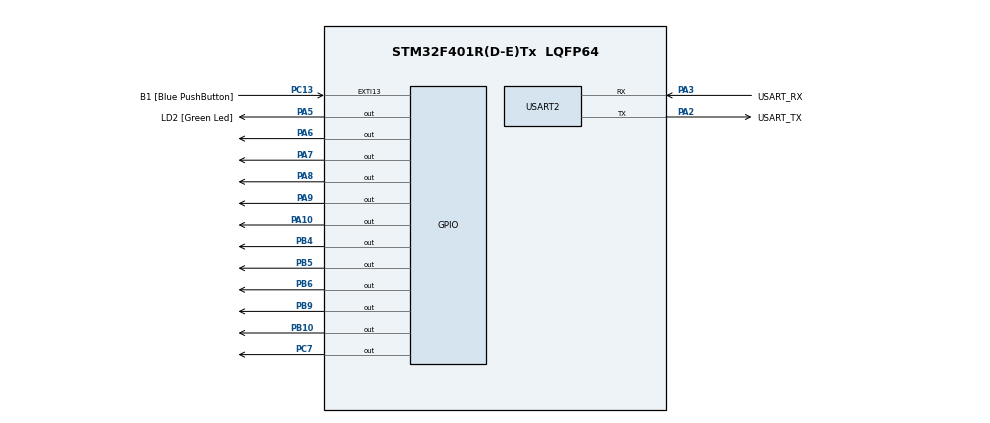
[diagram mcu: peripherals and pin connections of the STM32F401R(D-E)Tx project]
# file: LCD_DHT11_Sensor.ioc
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Mcu.Family=STM32F4
Mcu.Name=STM32F401R(D-E)Tx
Mcu.Package=LQFP64
NVIC.PriorityGroup=NVIC_PRIORITYGROUP_4
PA10.Signal=GPIO_Output
PA13.GPIO_Label=TMS
PA13.Mode=Trace_Asynchronous_SW
PA13.Signal=SYS_JTMS-SWDIO
PA14.GPIO_Label=TCK
PA14.Mode=Trace_Asynchronous_SW
PA14.Signal=SYS_JTCK-SWCLK
PA2.GPIO_Label=USART_TX
PA2.GPIO_Mode=GPIO_MODE_AF_PP
PA2.GPIO_PuPd=GPIO_NOPULL
PA2.GPIO_Speed=GPIO_SPEED_FREQ_LOW
PA2.Mode=Asynchronous
PA2.Signal=USART2_TX
PA3.GPIO_Label=USART_RX
PA3.GPIO_Mode=GPIO_MODE_AF_PP
PA3.GPIO_PuPd=GPIO_NOPULL
PA3.GPIO_Speed=GPIO_SPEED_FREQ_LOW
PA3.Mode=Asynchronous
PA3.Signal=USART2_RX
PA5.GPIO_Label=LD2 [Green Led]
PA5.GPIO_Mode=GPIO_MODE_OUTPUT_PP
PA5.GPIO_PuPd=GPIO_NOPULL
PA5.GPIO_Speed=GPIO_SPEED_FREQ_LOW
PA5.Signal=GPIO_Output
PA6.Signal=GPIO_Output
PA7.Signal=GPIO_Output
PA8.Signal=GPIO_Output
PA9.Signal=GPIO_Output
PB10.Signal=GPIO_Output
PB3.GPIO_Label=SWO
PB3.Mode=Trace_Asynchronous_SW
PB3.Signal=SYS_JTDO-SWO
PB4.Signal=GPIO_Output
PB5.Signal=GPIO_Output
PB6.Signal=GPIO_Output
PB9.Signal=GPIO_Output
PC13-ANTI_TAMP.GPIO_Label=B1 [Blue PushButton]
PC13-ANTI_TAMP.GPIO_ModeDefaultEXTI=GPIO_MODE_IT_FALLING
PC13-ANTI_TAMP.GPIO_PuPd=GPIO_NOPULL
PC13-ANTI_TAMP.Signal=GPXTI13
PC14-OSC32_IN.Mode=LSE-External-Oscillator
PC14-OSC32_IN.Signal=RCC_OSC32_IN
PC15-OSC32_OUT.Mode=LSE-External-Oscillator
PC15-OSC32_OUT.Signal=RCC_OSC32_OUT
PC7.Signal=GPIO_Output
PH0\ -\ OSC_IN.Mode=HSE-External-Clock-Source
PH0\ -\ OSC_IN.Signal=RCC_OSC_IN
PH1\ -\ OSC_OUT.Mode=HSE-External-Clock-Source
PH1\ -\ OSC_OUT.Signal=RCC_OSC_OUT
ProjectManager.HeapSize=0x200
ProjectManager.StackSize=0x400
ProjectManager.TargetToolchain=STM32CubeIDE
RCC.48MHZClocksFreq_Value=48000000
RCC.AHBFreq_Value=84000000
RCC.APB1CLKDivider=RCC_HCLK_DIV2
RCC.APB1Freq_Value=42000000
RCC.APB1TimFreq_Value=84000000
RCC.APB2Freq_Value=84000000
RCC.APB2TimFreq_Value=84000000
RCC.CortexFreq_Value=84000000
RCC.HCLKFreq_Value=84000000
RCC.HSE_VALUE=8000000
RCC.HSI_VALUE=16000000
RCC.PLLN=336
RCC.PLLP=RCC_PLLP_DIV4
RCC.PLLQ=7
RCC.SYSCLKFreq_VALUE=84000000
RCC.SYSCLKSource=RCC_SYSCLKSOURCE_PLLCLK
RCC.VCOOutputFreq_Value=336000000
TIM2.Prescaler=83
USART2.VirtualMode=VM_ASYNC
VP_TIM2_VS_ClockSourceINT.Mode=Internal
board=NUCLEO-F401RE

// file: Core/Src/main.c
/* USER CODE BEGIN Header */
/**
  ******************************************************************************
  * @file           : main.c
  * @brief          : Main program body
  ******************************************************************************
  * @attention
  *
  * Copyright (c) 2025 STMicroelectronics.
  * All rights reserved.
  *
  * This software is licensed under terms that can be found in the LICENSE file
  * in the root directory of this software component.
  * If no LICENSE file comes with this software, it is provided AS-IS.
  *
  ******************************************************************************
  */

// =============== Pinout ===============
// Register Select (RS)  - A10
// Enable          (E)   - B5
// D0              (LSB) - B4
// D1                    - B10
// D2                    - A8
// D3                    - A9
// D4                    - C7
// D5                    - B6
// D6                    - A7
// D7              (MSB) - A6
// DHT11           (D14) - B9

/* USER CODE END Header */
#include "main.h"

/* USER CODE BEGIN Includes */
#include "lcd.h"
#include "dht11.h"
#include <stdio.h>
#include <string.h>
/* USER CODE END Includes */

TIM_HandleTypeDef htim2;

void SystemClock_Config(void);
static void MX_GPIO_Init(void);
static void MX_USART2_UART_Init(void);
static void MX_TIM2_Init(void);

int main(void)
{

  /* USER CODE BEGIN 1 */
	DHT11_Data DHT_DAT;

	LCD my_LCD = {
	    .rs = {GPIOA, LL_GPIO_PIN_10},
	    .e  = {GPIOB, LL_GPIO_PIN_5},
	    .d7 = {GPIOA, LL_GPIO_PIN_6},
	    .d6 = {GPIOA, LL_GPIO_PIN_7},
	    .d5 = {GPIOB, LL_GPIO_PIN_6},
	    .d4 = {GPIOC, LL_GPIO_PIN_7},
	    .d3 = {GPIOA, LL_GPIO_PIN_9},
	    .d2 = {GPIOA, LL_GPIO_PIN_8},
	    .d1 = {GPIOB, LL_GPIO_PIN_10},
	    .d0 = {GPIOB, LL_GPIO_PIN_4}
	};

  /* USER CODE END 1 */

  /* MCU Configuration--------------------------------------------------------*/

  /* Reset of all peripherals, Initializes the Flash interface and the Systick. */
  HAL_Init();

  /* Configure the system clock */
  SystemClock_Config();

  /* Initialize all configured peripherals */
  MX_GPIO_Init();
  MX_USART2_UART_Init();
  MX_TIM2_Init();
  /* USER CODE BEGIN 2 */
  TIM2->CR1 |= TIM_CR1_CEN;

  LCD_INIT(&my_LCD); // initializes as 2 line, 8 bit, right incrementing
  LCD_PRINT(&my_LCD, "Really long string hello");
  LCD_CLEAR(&my_LCD);

  /* DHT11 Initialization Process
   * GPIO Initially Pulled High by DHT11
   * GPIO Set as output
   * 1. GPIO Pulls Low for at least 18ms (Start Signal)
   * 2. GPIO Pulls up
   * 3. GPIO Set as Input
   * 4. Wait for DHT response (20-40 us)
   * 5. DHT sends response signal LOW, keeps for 80 us
   * 6. DHT sets bus voltage level to high, keeps for 80 us, prep send data
   * 7. DHT sends 1 bit, starting with 50us low, then length of high voltage for 0 or 1
   * 	- 0 (26-28 us)
   * 	- 1 (70 us)
   * 8. next bit starts to transmit (50us)
   * 9. repeats until finished, then voltage pulls up and ready to read
   */

  // GPIO set as output, already pulled high
  GPIOB->MODER &= ~GPIO_MODER_MODER9_Msk; // reset
  GPIOB->MODER |= (1U << GPIO_MODER_MODE9_Pos);  // shift 1 to the 18th bit

  // GPIO pulls low, now wait 18ms
  GPIOB->ODR &= ~GPIO_ODR_OD9_Msk;

  /* USER CODE END 2 */

  /* Infinite loop */
  /* USER CODE BEGIN WHILE */
  while (1)
  {
	  DHT_DAT = DHT11_READ();

	  char buffer[16];

	  LCD_SET_CURSOR_POS(&my_LCD, 0, 0);
	  sprintf(buffer, "Temp: %2d.%dF", DHT_DAT.temp_int, DHT_DAT.temp_dec);
	  LCD_PRINT(&my_LCD, buffer);

	  LCD_SET_CURSOR_POS(&my_LCD, 1, 0);
	  sprintf(buffer, "Humidity: %2d.%d%%", DHT_DAT.humidity_int, DHT_DAT.humidity_dec);
	  LCD_PRINT(&my_LCD, buffer);

	  HAL_Delay(500);

    /* USER CODE END WHILE */

  }
}

void delay_us(uint32_t us){
	TIM2->CNT = 0;
	while (TIM2->CNT < us);
}

void SystemClock_Config(void)
{
  LL_FLASH_SetLatency(LL_FLASH_LATENCY_2);
  while(LL_FLASH_GetLatency()!= LL_FLASH_LATENCY_2)
  {
  }
  LL_PWR_SetRegulVoltageScaling(LL_PWR_REGU_VOLTAGE_SCALE2);
  LL_RCC_HSI_SetCalibTrimming(16);
  LL_RCC_HSI_Enable();

   /* Wait till HSI is ready */
  while(LL_RCC_HSI_IsReady() != 1)
  {

  }
  LL_RCC_PLL_ConfigDomain_SYS(LL_RCC_PLLSOURCE_HSI, LL_RCC_PLLM_DIV_16, 336, LL_RCC_PLLP_DIV_4);
  LL_RCC_PLL_Enable();

   /* Wait till PLL is ready */
  while(LL_RCC_PLL_IsReady() != 1)
  {

  }
  while (LL_PWR_IsActiveFlag_VOS() == 0)
  {
  }
  LL_RCC_SetAHBPrescaler(LL_RCC_SYSCLK_DIV_1);
  LL_RCC_SetAPB1Prescaler(LL_RCC_APB1_DIV_2);
  LL_RCC_SetAPB2Prescaler(LL_RCC_APB2_DIV_1);
  LL_RCC_SetSysClkSource(LL_RCC_SYS_CLKSOURCE_PLL);

   /* Wait till System clock is ready */
  while(LL_RCC_GetSysClkSource() != LL_RCC_SYS_CLKSOURCE_STATUS_PLL)
  {

  }
  LL_SetSystemCoreClock(84000000);

   /* Update the time base */
  if (HAL_InitTick (TICK_INT_PRIORITY) != HAL_OK)
  {
    Error_Handler();
  }
  LL_RCC_SetTIMPrescaler(LL_RCC_TIM_PRESCALER_TWICE);
}

static void MX_TIM2_Init(void)
{

  TIM_ClockConfigTypeDef sClockSourceConfig = {0};
  TIM_MasterConfigTypeDef sMasterConfig = {0};

  htim2.Instance = TIM2;
  htim2.Init.Prescaler = 83;
  htim2.Init.CounterMode = TIM_COUNTERMODE_UP;
  htim2.Init.Period = 4294967295;
  htim2.Init.ClockDivision = TIM_CLOCKDIVISION_DIV1;
  htim2.Init.AutoReloadPreload = TIM_AUTORELOAD_PRELOAD_DISABLE;
  if (HAL_TIM_Base_Init(&htim2) != HAL_OK)
  {
    Error_Handler();
  }
  sClockSourceConfig.ClockSource = TIM_CLOCKSOURCE_INTERNAL;
  if (HAL_TIM_ConfigClockSource(&htim2, &sClockSourceConfig) != HAL_OK)
  {
    Error_Handler();
  }
  sMasterConfig.MasterOutputTrigger = TIM_TRGO_RESET;
  sMasterConfig.MasterSlaveMode = TIM_MASTERSLAVEMODE_DISABLE;
  if (HAL_TIMEx_MasterConfigSynchronization(&htim2, &sMasterConfig) != HAL_OK)
  {
    Error_Handler();
  }

}

static void MX_USART2_UART_Init(void)
{

  LL_USART_InitTypeDef USART_InitStruct = {0};

  LL_GPIO_InitTypeDef GPIO_InitStruct = {0};

  /* Peripheral clock enable */
  LL_APB1_GRP1_EnableClock(LL_APB1_GRP1_PERIPH_USART2);

  LL_AHB1_GRP1_EnableClock(LL_AHB1_GRP1_PERIPH_GPIOA);
  /**USART2 GPIO Configuration
  PA2   ------> USART2_TX
  PA3   ------> USART2_RX
  */
  GPIO_InitStruct.Pin = USART_TX_Pin|USART_RX_Pin;
  GPIO_InitStruct.Mode = LL_GPIO_MODE_ALTERNATE;
  GPIO_InitStruct.Speed = LL_GPIO_SPEED_FREQ_LOW;
  GPIO_InitStruct.OutputType = LL_GPIO_OUTPUT_PUSHPULL;
  GPIO_InitStruct.Pull = LL_GPIO_PULL_NO;
  GPIO_InitStruct.Alternate = LL_GPIO_AF_7;
  LL_GPIO_Init(GPIOA, &GPIO_InitStruct);

  USART_InitStruct.BaudRate = 115200;
  USART_InitStruct.DataWidth = LL_USART_DATAWIDTH_8B;
  USART_InitStruct.StopBits = LL_USART_STOPBITS_1;
  USART_InitStruct.Parity = LL_USART_PARITY_NONE;
  USART_InitStruct.TransferDirection = LL_USART_DIRECTION_TX_RX;
  USART_InitStruct.HardwareFlowControl = LL_USART_HWCONTROL_NONE;
  USART_InitStruct.OverSampling = LL_USART_OVERSAMPLING_16;
  LL_USART_Init(USART2, &USART_InitStruct);
  LL_USART_ConfigAsyncMode(USART2);
  LL_USART_Enable(USART2);

}

static void MX_GPIO_Init(void)
{
  LL_EXTI_InitTypeDef EXTI_InitStruct = {0};
  LL_GPIO_InitTypeDef GPIO_InitStruct = {0};

  /* GPIO Ports Clock Enable */
  LL_AHB1_GRP1_EnableClock(LL_AHB1_GRP1_PERIPH_GPIOC);
  LL_AHB1_GRP1_EnableClock(LL_AHB1_GRP1_PERIPH_GPIOH);
  LL_AHB1_GRP1_EnableClock(LL_AHB1_GRP1_PERIPH_GPIOA);
  LL_AHB1_GRP1_EnableClock(LL_AHB1_GRP1_PERIPH_GPIOB);

  /**/
  LL_GPIO_ResetOutputPin(GPIOA, LD2_Pin|LL_GPIO_PIN_6|LL_GPIO_PIN_7|LL_GPIO_PIN_8
                          |LL_GPIO_PIN_9|LL_GPIO_PIN_10);

  /**/
  LL_GPIO_ResetOutputPin(GPIOB, LL_GPIO_PIN_10|LL_GPIO_PIN_4|LL_GPIO_PIN_5|LL_GPIO_PIN_6
                          |LL_GPIO_PIN_9);

  /**/
  LL_GPIO_ResetOutputPin(GPIOC, LL_GPIO_PIN_7);

  /**/
  LL_SYSCFG_SetEXTISource(LL_SYSCFG_EXTI_PORTC, LL_SYSCFG_EXTI_LINE13);

  /**/
  EXTI_InitStruct.Line_0_31 = LL_EXTI_LINE_13;
  EXTI_InitStruct.LineCommand = ENABLE;
  EXTI_InitStruct.Mode = LL_EXTI_MODE_IT;
  EXTI_InitStruct.Trigger = LL_EXTI_TRIGGER_FALLING;
  LL_EXTI_Init(&EXTI_InitStruct);

  /**/
  LL_GPIO_SetPinPull(B1_GPIO_Port, B1_Pin, LL_GPIO_PULL_NO);

  /**/
  LL_GPIO_SetPinMode(B1_GPIO_Port, B1_Pin, LL_GPIO_MODE_INPUT);

  /**/
  GPIO_InitStruct.Pin = LD2_Pin|LL_GPIO_PIN_6|LL_GPIO_PIN_7|LL_GPIO_PIN_8
                          |LL_GPIO_PIN_9|LL_GPIO_PIN_10;
  GPIO_InitStruct.Mode = LL_GPIO_MODE_OUTPUT;
  GPIO_InitStruct.Speed = LL_GPIO_SPEED_FREQ_LOW;
  GPIO_InitStruct.OutputType = LL_GPIO_OUTPUT_PUSHPULL;
  GPIO_InitStruct.Pull = LL_GPIO_PULL_NO;
  LL_GPIO_Init(GPIOA, &GPIO_InitStruct);

  /**/
  GPIO_InitStruct.Pin = LL_GPIO_PIN_10|LL_GPIO_PIN_4|LL_GPIO_PIN_5|LL_GPIO_PIN_6
                          |LL_GPIO_PIN_9;
  GPIO_InitStruct.Mode = LL_GPIO_MODE_OUTPUT;
  GPIO_InitStruct.Speed = LL_GPIO_SPEED_FREQ_LOW;
  GPIO_InitStruct.OutputType = LL_GPIO_OUTPUT_PUSHPULL;
  GPIO_InitStruct.Pull = LL_GPIO_PULL_NO;
  LL_GPIO_Init(GPIOB, &GPIO_InitStruct);

  /**/
  GPIO_InitStruct.Pin = LL_GPIO_PIN_7;
  GPIO_InitStruct.Mode = LL_GPIO_MODE_OUTPUT;
  GPIO_InitStruct.Speed = LL_GPIO_SPEED_FREQ_LOW;
  GPIO_InitStruct.OutputType = LL_GPIO_OUTPUT_PUSHPULL;
  GPIO_InitStruct.Pull = LL_GPIO_PULL_NO;
  LL_GPIO_Init(GPIOC, &GPIO_InitStruct);

}

void Error_Handler(void)
{
  __disable_irq();
  while (1)
  {
  }
}
